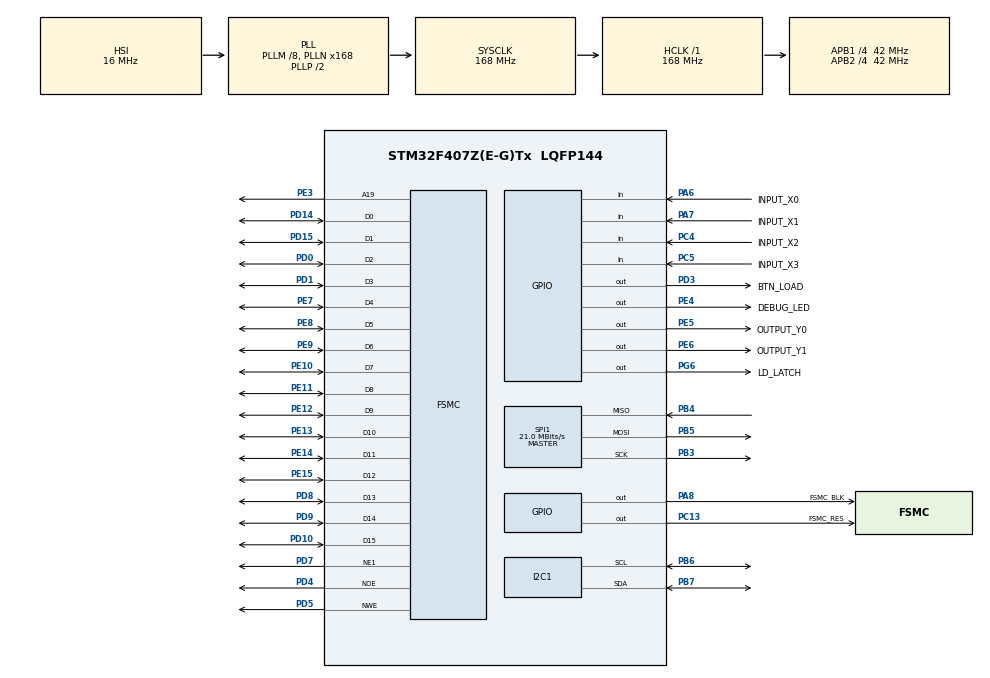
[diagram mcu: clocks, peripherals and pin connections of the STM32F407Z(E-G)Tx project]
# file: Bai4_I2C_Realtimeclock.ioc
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FSMC.AddressSetupTime1=0xf
FSMC.BusTurnAroundDuration1=0
FSMC.DataSetupTime1=60
FSMC.ExtendedAddressSetupTime1=8
FSMC.ExtendedBusTurnAroundDuration1=0
FSMC.ExtendedDataSetupTime1=9
FSMC.ExtendedMode1=FSMC_EXTENDED_MODE_ENABLE
Mcu.Family=STM32F4
Mcu.Name=STM32F407Z(E-G)Tx
Mcu.Package=LQFP144
NVIC.PriorityGroup=NVIC_PRIORITYGROUP_4
NVIC.TIM2_IRQn=true\:0\:0\:false\:false\:true\:true\:true\:true
PA13.Mode=Serial_Wire
PA13.Signal=SYS_JTMS-SWDIO
PA14.Mode=Serial_Wire
PA14.Signal=SYS_JTCK-SWCLK
PA6.GPIO_Label=INPUT_X0
PA6.Signal=GPIO_Input
PA7.GPIO_Label=INPUT_X1
PA7.Signal=GPIO_Input
PA8.GPIO_Label=FSMC_BLK
PA8.Signal=GPIO_Output
PB3.Mode=Full_Duplex_Master
PB3.Signal=SPI1_SCK
PB4.Mode=Full_Duplex_Master
PB4.Signal=SPI1_MISO
PB5.Mode=Full_Duplex_Master
PB5.Signal=SPI1_MOSI
PB6.Mode=I2C
PB6.Signal=I2C1_SCL
PB7.Mode=I2C
PB7.Signal=I2C1_SDA
PC13-ANTI_TAMP.GPIO_Label=FSMC_RES
PC13-ANTI_TAMP.Signal=GPIO_Output
PC4.GPIO_Label=INPUT_X2
PC4.Signal=GPIO_Input
PC5.GPIO_Label=INPUT_X3
PC5.Signal=GPIO_Input
PD0.Signal=FSMC_D2_DA2
PD1.Signal=FSMC_D3_DA3
PD10.Signal=FSMC_D15_DA15
PD14.Signal=FSMC_D0_DA0
PD15.Signal=FSMC_D1_DA1
PD3.GPIO_Label=BTN_LOAD
PD3.Signal=GPIO_Output
PD4.Signal=FSMC_NOE
PD5.Signal=FSMC_NWE
PD7.Mode=NorPsramChipSelect1_1
PD7.Signal=FSMC_NE1
PD8.Signal=FSMC_D13_DA13
PD9.Signal=FSMC_D14_DA14
PE10.Signal=FSMC_D7_DA7
PE11.Signal=FSMC_D8_DA8
PE12.Signal=FSMC_D9_DA9
PE13.Signal=FSMC_D10_DA10
PE14.Signal=FSMC_D11_DA11
PE15.Signal=FSMC_D12_DA12
PE3.Signal=FSMC_A19
PE4.GPIO_Label=DEBUG_LED
PE4.Signal=GPIO_Output
PE5.GPIO_Label=OUTPUT_Y0
PE5.Signal=GPIO_Output
PE6.GPIO_Label=OUTPUT_Y1
PE6.Signal=GPIO_Output
PE7.Signal=FSMC_D4_DA4
PE8.Signal=FSMC_D5_DA5
PE9.Signal=FSMC_D6_DA6
PG6.GPIO_Label=LD_LATCH
PG6.Signal=GPIO_Output
PH0-OSC_IN.Mode=HSE-External-Oscillator
PH0-OSC_IN.Signal=RCC_OSC_IN
PH1-OSC_OUT.Mode=HSE-External-Oscillator
PH1-OSC_OUT.Signal=RCC_OSC_OUT
ProjectManager.HeapSize=0x200
ProjectManager.StackSize=0x400
ProjectManager.TargetToolchain=STM32CubeIDE
RCC.48MHZClocksFreq_Value=84000000
RCC.AHBFreq_Value=168000000
RCC.APB1CLKDivider=RCC_HCLK_DIV4
RCC.APB1Freq_Value=42000000
RCC.APB1TimFreq_Value=84000000
RCC.APB2CLKDivider=RCC_HCLK_DIV4
RCC.APB2Freq_Value=42000000
RCC.APB2TimFreq_Value=84000000
RCC.CortexFreq_Value=168000000
RCC.HCLKFreq_Value=168000000
RCC.HSE_VALUE=8000000
RCC.HSI_VALUE=16000000
RCC.LSE_VALUE=32768
RCC.PLLM=8
RCC.PLLN=168
RCC.SYSCLKFreq_VALUE=168000000
RCC.SYSCLKSource=RCC_SYSCLKSOURCE_PLLCLK
RCC.VCOOutputFreq_Value=336000000
SH.FSMC_A19.0=FSMC_A19,A19_1
SH.FSMC_D0_DA0.0=FSMC_D0,16b-d1
SH.FSMC_D10_DA10.0=FSMC_D10,16b-d1
SH.FSMC_D11_DA11.0=FSMC_D11,16b-d1
SH.FSMC_D12_DA12.0=FSMC_D12,16b-d1
SH.FSMC_D13_DA13.0=FSMC_D13,16b-d1
SH.FSMC_D14_DA14.0=FSMC_D14,16b-d1
SH.FSMC_D15_DA15.0=FSMC_D15,16b-d1
SH.FSMC_D1_DA1.0=FSMC_D1,16b-d1
SH.FSMC_D2_DA2.0=FSMC_D2,16b-d1
SH.FSMC_D3_DA3.0=FSMC_D3,16b-d1
SH.FSMC_D4_DA4.0=FSMC_D4,16b-d1
SH.FSMC_D5_DA5.0=FSMC_D5,16b-d1
SH.FSMC_D6_DA6.0=FSMC_D6,16b-d1
SH.FSMC_D7_DA7.0=FSMC_D7,16b-d1
SH.FSMC_D8_DA8.0=FSMC_D8,16b-d1
SH.FSMC_D9_DA9.0=FSMC_D9,16b-d1
SH.FSMC_NOE.0=FSMC_NOE,Lcd1
SH.FSMC_NWE.0=FSMC_NWE,Lcd1
SPI1.BaudRatePrescaler=SPI_BAUDRATEPRESCALER_2
SPI1.CalculateBaudRate=21.0 MBits/s
SPI1.Direction=SPI_DIRECTION_2LINES
SPI1.Mode=SPI_MODE_MASTER
SPI1.VirtualType=VM_MASTER
TIM2.Period=100-1
TIM2.Prescaler=840-1
VP_TIM2_VS_ClockSourceINT.Mode=Internal
board=custom

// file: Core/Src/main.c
/* USER CODE BEGIN Header */
/**
  ******************************************************************************
  * @file           : main.c
  * @brief          : Main program body
  ******************************************************************************
  * @attention
  *
  * <h2><center>&copy; Copyright (c) 2023 STMicroelectronics.
  * All rights reserved.</center></h2>
  *
  * This software component is licensed by ST under BSD 3-Clause license,
  * the "License"; You may not use this file except in compliance with the
  * License. You may obtain a copy of the License at:
  *                        opensource.org/licenses/BSD-3-Clause
  *
  ******************************************************************************
  */
/* USER CODE END Header */
#include "main.h"
#include "i2c.h"
#include "spi.h"
#include "tim.h"
#include "gpio.h"
#include "fsmc.h"

/* USER CODE BEGIN Includes */
#include "software_timer.h"
#include "led_7seg.h"
#include "button.h"
#include "lcd.h"
#include "picture.h"
#include "ds3231.h"
/* USER CODE END Includes */

/* USER CODE BEGIN PV */
uint8_t count_led_debug = 0;
uint8_t count_modify = 0;
uint8_t count_timer = 0;
uint8_t temp = 0;
uint8_t temp_timer = 0;
uint8_t flag = 0;
enum Mode {
	modeInit,
	modeNormal,
	modeModify,
	modeTimer,
};
enum Mode currentMode = modeInit;
uint8_t temp_time[7];
uint8_t timer[7];
uint8_t timerPresent[7];
/* USER CODE END PV */

void SystemClock_Config(void);
/* USER CODE BEGIN PFP */
void system_init();
void test_LedDebug();
void displayTime();
void updateTime();
void fsm();
/* USER CODE END PFP */

int main(void)
{

  /* MCU Configuration--------------------------------------------------------*/

  /* Reset of all peripherals, Initializes the Flash interface and the Systick. */
  HAL_Init();

  /* Configure the system clock */
  SystemClock_Config();

  /* Initialize all configured peripherals */
  MX_GPIO_Init();
  MX_TIM2_Init();
  MX_SPI1_Init();
  MX_FSMC_Init();
  MX_I2C1_Init();
  /* USER CODE BEGIN 2 */
  system_init();
  /* USER CODE END 2 */

  /* Infinite loop */
  /* USER CODE BEGIN WHILE */
 lcd_Clear(BLACK);
 updateTime();
  while (1)
  {
	  while(!flag_timer2);
	  flag_timer2 = 0;
	  button_Scan();
	  ds3231_ReadTime();
//	  displayTime();
	  fsm();
    /* USER CODE END WHILE */

  }
}

void SystemClock_Config(void)
{
  RCC_OscInitTypeDef RCC_OscInitStruct = {0};
  RCC_ClkInitTypeDef RCC_ClkInitStruct = {0};

  /** Configure the main internal regulator output voltage
  */
  __HAL_RCC_PWR_CLK_ENABLE();
  __HAL_PWR_VOLTAGESCALING_CONFIG(PWR_REGULATOR_VOLTAGE_SCALE1);

  /** Initializes the RCC Oscillators according to the specified parameters
  * in the RCC_OscInitTypeDef structure.
  */
  RCC_OscInitStruct.OscillatorType = RCC_OSCILLATORTYPE_HSI;
  RCC_OscInitStruct.HSIState = RCC_HSI_ON;
  RCC_OscInitStruct.HSICalibrationValue = RCC_HSICALIBRATION_DEFAULT;
  RCC_OscInitStruct.PLL.PLLState = RCC_PLL_ON;
  RCC_OscInitStruct.PLL.PLLSource = RCC_PLLSOURCE_HSI;
  RCC_OscInitStruct.PLL.PLLM = 8;
  RCC_OscInitStruct.PLL.PLLN = 168;
  RCC_OscInitStruct.PLL.PLLP = RCC_PLLP_DIV2;
  RCC_OscInitStruct.PLL.PLLQ = 4;
  if (HAL_RCC_OscConfig(&RCC_OscInitStruct) != HAL_OK)
  {
    Error_Handler();
  }

  /** Initializes the CPU, AHB and APB buses clocks
  */
  RCC_ClkInitStruct.ClockType = RCC_CLOCKTYPE_HCLK|RCC_CLOCKTYPE_SYSCLK
                              |RCC_CLOCKTYPE_PCLK1|RCC_CLOCKTYPE_PCLK2;
  RCC_ClkInitStruct.SYSCLKSource = RCC_SYSCLKSOURCE_PLLCLK;
  RCC_ClkInitStruct.AHBCLKDivider = RCC_SYSCLK_DIV1;
  RCC_ClkInitStruct.APB1CLKDivider = RCC_HCLK_DIV4;
  RCC_ClkInitStruct.APB2CLKDivider = RCC_HCLK_DIV4;

  if (HAL_RCC_ClockConfig(&RCC_ClkInitStruct, FLASH_LATENCY_5) != HAL_OK)
  {
    Error_Handler();
  }
}

/* USER CODE BEGIN 4 */
void system_init(){
	  HAL_GPIO_WritePin(OUTPUT_Y0_GPIO_Port, OUTPUT_Y0_Pin, 0);
	  HAL_GPIO_WritePin(OUTPUT_Y1_GPIO_Port, OUTPUT_Y1_Pin, 0);
	  HAL_GPIO_WritePin(DEBUG_LED_GPIO_Port, DEBUG_LED_Pin, 0);
	  timer_init();
	  led7_init();
	  button_init();
	  lcd_init();
	  ds3231_init();
	  setTimer2(50);
}

void test_LedDebug(){
	count_led_debug = (count_led_debug + 1)%20;
	if(count_led_debug == 0){
		HAL_GPIO_TogglePin(DEBUG_LED_GPIO_Port, DEBUG_LED_Pin);
	}
}

void test_7seg(){
	led7_SetDigit(0, 0, 0);
	led7_SetDigit(5, 1, 0);
	led7_SetDigit(4, 2, 0);
	led7_SetDigit(7, 3, 0);
}
void test_button(){
	for(int i = 0; i < 16; i++){
		if(button_count[i] == 1){
			led7_SetDigit(i/10, 2, 0);
			led7_SetDigit(i%10, 3, 0);
		}
	}
}

void updateTime(){
	ds3231_Write(ADDRESS_YEAR, 24);
	ds3231_Write(ADDRESS_MONTH, 5);
	ds3231_Write(ADDRESS_DATE, 30);
	ds3231_Write(ADDRESS_DAY, 5);
	ds3231_Write(ADDRESS_HOUR, 9);
	ds3231_Write(ADDRESS_MIN, 47);
	ds3231_Write(ADDRESS_SEC, 50);
}

uint8_t isButtonUp()
{
    if (button_count[3] == 1)
        return 1;
    else
        return 0;
}
uint8_t isButtonDown()
{
    if (button_count[7] == 1)
        return 1;
    else
        return 0;
}
char* returnMode() {
	switch (currentMode) {
		case modeInit:
			return "Initial";
			break;
		case modeNormal:
			return "Time Now";
			break;
		case modeModify:
			return "Modify Time";
			break;
		case modeTimer:
			return "Alarm";
			break;
	}
	return "Unknown!";
}

void checkTime() {
	switch (temp) {
		case 0:
			if (temp_time[temp] > 24) {
				temp_time[temp] = 0;
			}
			break;
		case 1:
			if (temp_time[temp] > 59) {
				temp_time[temp] = 0;
			}
			break;
		case 2:
			if (temp_time[temp] > 59) {
				temp_time[temp] = 0;
			}
			break;
		case 3:
			if (temp_time[temp] > 8) {
				temp_time[temp] = 2;
			}
			break;
		case 4:
			if (temp_time[temp] > 31) {
				temp_time[temp] = 0;
			}
			break;
		case 5:
			if (temp_time[temp] > 12) {
				temp_time[temp] = 0;
			}
			break;
		case 6:
			if (temp_time[temp] > 99) {
				temp_time[temp] = 0;
			}
			break;
	}
}

void checkTimer() {
	switch (temp_timer) {
		case 0:
			if (timer[temp_timer] > 24) {
				timer[temp_timer] = 0;
			}
			break;
		case 1:
			if (timer[temp_timer] > 59) {
				timer[temp_timer] = 0;
			}
			break;
		case 2:
			if (timer[temp_timer] > 59) {
				timer[temp_timer] = 0;
			}
			break;
		case 3:
			if (timer[temp_timer] > 8) {
				timer[temp_timer] = 2;
			}
			break;
		case 4:
			if (timer[temp_timer] > 31) {
				timer[temp_timer] = 0;
			}
			break;
		case 5:
			if (timer[temp_timer] > 12) {
				timer[temp_timer] = 0;
			}
			break;
		case 6:
			if (timer[temp_timer] > 99) {
				timer[temp_timer] = 0;
			}
			break;
	}
}

void displayTime(){
	lcd_StrCenter(0, 50, returnMode(), WHITE, BLACK, 24, 0);
	lcd_ShowIntNum(70, 100, ds3231_hours, 2, GREEN, BLACK, 24);
	lcd_ShowIntNum(110, 100, ds3231_min, 2, GREEN, BLACK, 24);
	lcd_ShowIntNum(150, 100, ds3231_sec, 2, GREEN, BLACK, 24);
	lcd_ShowIntNum(20, 130, ds3231_day, 2, YELLOW, BLACK, 24);
	lcd_ShowIntNum(70, 130, ds3231_date, 2, YELLOW, BLACK, 24);
	lcd_ShowIntNum(110, 130, ds3231_month, 2, YELLOW, BLACK, 24);
	lcd_ShowIntNum(150, 130, ds3231_year, 2, YELLOW, BLACK, 24);
}

void modifyTime() {
	count_modify = (count_modify + 1) % 10;
	if (count_modify > 5) {
		switch (temp){
			case 0:
				lcd_ShowIntNum(70, 100, "  ", 2, BLACK, BLACK, 24);
				break;
			case 1:
				lcd_ShowIntNum(110, 100, "  ", 2, BLACK, BLACK, 24);
				break;
			case 2:
				lcd_ShowIntNum(150, 100, "  ", 2, BLACK, BLACK, 24);
				break;
			case 3:
				lcd_ShowIntNum(20, 130, "  ", 2, BLACK, BLACK, 24);
				break;
			case 4:
				lcd_ShowIntNum(70, 130, "  ", 2, BLACK, BLACK, 24);
				break;
			case 5:
				lcd_ShowIntNum(110, 130, "  ", 2, BLACK, BLACK, 24);
				break;
			case 6:
				lcd_ShowIntNum(150, 130, "  ", 2, BLACK, BLACK, 24);
				break;
		}
	} else {
		lcd_StrCenter(0, 50, returnMode(), WHITE, BLACK, 24, 0);
		lcd_ShowIntNum(70, 100, temp_time[0], 2, GREEN, BLACK, 24);
		lcd_ShowIntNum(110, 100, temp_time[1], 2, GREEN, BLACK, 24);
		lcd_ShowIntNum(150, 100, temp_time[2], 2, GREEN, BLACK, 24);
		lcd_ShowIntNum(20, 130, temp_time[3], 2, YELLOW, BLACK, 24);
		lcd_ShowIntNum(70, 130, temp_time[4], 2, YELLOW, BLACK, 24);
		lcd_ShowIntNum(110, 130, temp_time[5], 2, YELLOW, BLACK, 24);
		lcd_ShowIntNum(150, 130, temp_time[6], 2, YELLOW, BLACK, 24);
	}

	if (button_count[3] == 1) {
		temp_time[temp]++;
		checkTime();
	}

	if (button_count[3] > 40 && button_count[3] % 4 == 1) {
		temp_time[temp]++;
		checkTime();
	}

	if (button_count[12] == 1) {
		switch (temp){
			case 0:
				ds3231_Write(ADDRESS_HOUR, temp_time[temp]);
				break;
			case 1:
				ds3231_Write(ADDRESS_MIN, temp_time[temp]);
				break;
			case 2:
				ds3231_Write(ADDRESS_SEC, temp_time[temp]);
				break;
			case 3:
				ds3231_Write(ADDRESS_DAY, temp_time[temp]);
				break;
			case 4:
				ds3231_Write(ADDRESS_DATE, temp_time[temp]);
				break;
			case 5:
				ds3231_Write(ADDRESS_MONTH, temp_time[temp]);
				break;
			case 6:
				ds3231_Write(ADDRESS_YEAR, temp_time[temp]);
				break;
		}
		temp++;
		if (temp > 6) {
			temp = 0;
		}
	}
}

void modifyTimer() {
	count_timer = (count_timer + 1) % 10;
	if (count_timer > 5) {
		switch (temp_timer){
			case 0:
				lcd_ShowIntNum(70, 100, "  ", 2, BLACK, BLACK, 24);
				break;
			case 1:
				lcd_ShowIntNum(110, 100, "  ", 2, BLACK, BLACK, 24);
				break;
			case 2:
				lcd_ShowIntNum(150, 100, "  ", 2, BLACK, BLACK, 24);
				break;
			case 3:
				lcd_ShowIntNum(20, 130, "  ", 2, BLACK, BLACK, 24);
				break;
			case 4:
				lcd_ShowIntNum(70, 130, "  ", 2, BLACK, BLACK, 24);
				break;
			case 5:
				lcd_ShowIntNum(110, 130, "  ", 2, BLACK, BLACK, 24);
				break;
			case 6:
				lcd_ShowIntNum(150, 130, "  ", 2, BLACK, BLACK, 24);
				break;
		}
	} else {
		lcd_StrCenter(0, 50, returnMode(), WHITE, BLACK, 24, 0);
		lcd_ShowIntNum(70, 100, timer[0], 2, GREEN, BLACK, 24);
		lcd_ShowIntNum(110, 100, timer[1], 2, GREEN, BLACK, 24);
		lcd_ShowIntNum(150, 100, timer[2], 2, GREEN, BLACK, 24);
		lcd_ShowIntNum(20, 130, timer[3], 2, YELLOW, BLACK, 24);
		lcd_ShowIntNum(70, 130, timer[4], 2, YELLOW, BLACK, 24);
		lcd_ShowIntNum(110, 130,timer[5], 2, YELLOW, BLACK, 24);
		lcd_ShowIntNum(150, 130, timer[6], 2, YELLOW, BLACK, 24);
	}

	if (button_count[3] == 1) {
		timer[temp_timer]++;
		checkTimer();
	}

	if (button_count[3] > 40 && button_count[3] % 4 == 1) {
		timer[temp_timer]++;
		checkTimer();
	}

	if (button_count[12] == 1) {
		switch (temp_timer){
			case 0:
				timerPresent[temp_timer] = timer[temp_timer];
				break;
			case 1:
				timerPresent[temp_timer] = timer[temp_timer];
				break;
			case 2:
				timerPresent[temp_timer] = timer[temp_timer];
				break;
			case 3:
				timerPresent[temp_timer] = timer[temp_timer];
				break;
			case 4:
				timerPresent[temp_timer] = timer[temp_timer];
				break;
			case 5:
				timerPresent[temp_timer] = timer[temp_timer];
				break;
			case 6:
				timerPresent[temp_timer] = timer[temp_timer];
				break;
		}
		temp_timer++;
		if (temp_timer> 6) {
			temp_timer = 0;
		}
	}
}

void fsm() {
	switch (currentMode) {
		case modeInit:
			currentMode = modeNormal;
			break;
		case modeNormal:
			temp = 0;
			temp_timer = 0;
			for (int i = 0; i < 7; i++) {
				temp_time[i] = 0;
				timer[i] = 0;
			}
			displayTime();

			if (ds3231_hours == timerPresent[0] && ds3231_min == timerPresent[1]) {
				lcd_Fill(0, 200, 240, 300, RED);
				lcd_StrCenter(0, 240, "Wake up!", YELLOW, RED, 16, 0);
			}
			else {
				lcd_Fill(0, 200, 240, 300, BLACK);
				lcd_StrCenter(0, 240, "Wake up!", BLACK, BLACK, 16, 0);
			}

			if (button_count[0] == 1) {
				lcd_Fill(0, 50, 240, 75, BLACK);
				currentMode = modeModify;
			}
			break;
		case modeModify:
			for (int i = 0; i < 7; i++) {
				if (temp_time[i] == 0 && flag == 0) {
					switch (i) {
						case 0:
							temp_time[i] = ds3231_hours;
							break;
						case 1:
							temp_time[i] = ds3231_min;
							break;
						case 2:
							temp_time[i] = ds3231_sec;
							break;
						case 3:
							temp_time[i] = ds3231_day;
							break;
						case 4:
							temp_time[i] = ds3231_date;
							break;
						case 5:
							temp_time[i] = ds3231_month;
							break;
						case 6:
							temp_time[i] = ds3231_year;
							break;
					}
				}
			}
			flag = 1;
			modifyTime();
			if (button_count[0] == 1) {
				flag = 0;
				lcd_Fill(0, 50, 240, 75, BLACK);
				currentMode = modeTimer;
			}
			break;
		case modeTimer:
			for (int i = 0; i < 7; i++) {
				if (timer[i] == 0 && flag == 0) {
					switch (i) {
						case 0:
							timer[i] = timerPresent[i];
							break;
						case 1:
							timer[i] = timerPresent[i];
							break;
						case 2:
							timer[i] = timerPresent[i];
							break;
						case 3:
							timer[i] = timerPresent[i];
							break;
						case 4:
							timer[i] = timerPresent[i];
							break;
						case 5:
							timer[i] = timerPresent[i];
							break;
						case 6:
							timer[i] = timerPresent[i];
							break;
					}
				}
			}
			flag = 1;
			modifyTimer();
			if (button_count[0] == 1) {
				flag = 0;
				lcd_Fill(0, 50, 240, 75, BLACK);
				currentMode = modeNormal;
			}
			break;
	}
}
/* USER CODE END 4 */

void Error_Handler(void)
{
  __disable_irq();
  while (1)
  {
  }
}
